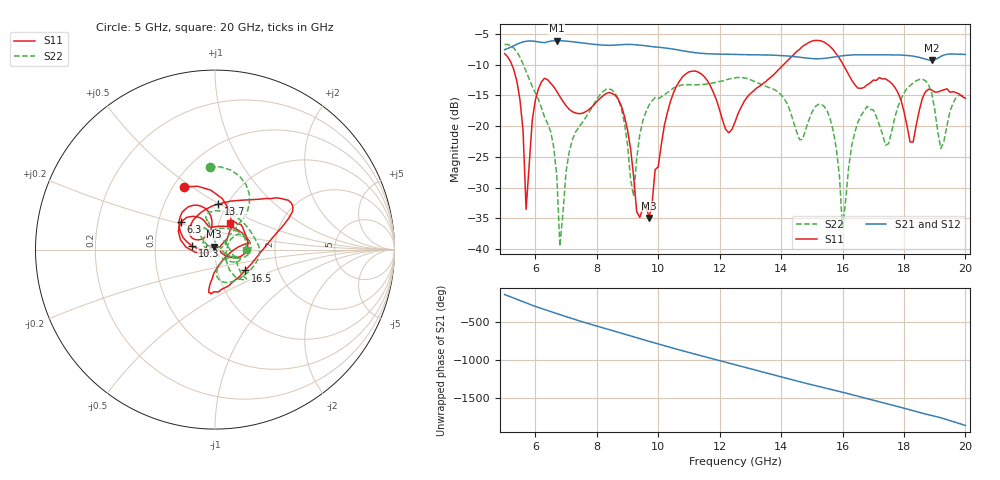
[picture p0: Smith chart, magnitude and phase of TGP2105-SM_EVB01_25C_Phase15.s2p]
! Date: Wednesday, June 05, 2013  1:50 PM
! Filename: C:\Data\Mike_Arnold\TGP2105-SM\Over_Temp\TGP2105-SM_EVB01_25C_Phase15.s2p
! Comments:
!^VDC(V):5.000
!^VDC(mA):0.134
!%Freq(GHz),S11(dB),S11(ang),S21(dB),S21(ang),S12(dB),S12(ang),S22(dB),S22(ang)
# GHz  S  DB  R  50
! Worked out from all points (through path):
!   151 points, 5 GHz to 20 GHz, reference 50 ohm
!   highest |S21| = -6.10 dB at 6.7 GHz (marker M1); lowest = -9.3 dB at 18.9 GHz (marker M2)
!   group delay of S21, straight-line fit = 305 ps
!   lowest |S11| = -34.9 dB at 9.7 GHz (marker M3), VSWR 1.04, Z = 49.3 + j1.63 ohm
!   |S11| at or under -10 dB: 5.234 GHz to 14.08 GHz (8.847 GHz wide, 91.6 % of centre); 16.02 GHz to end of sweep
!   |S22| runs from -39.5 to -6.7 dB; largest |S21 - S12| = 0.0021
!   S11 on the Smith chart (normalised r, x): 5 GHz: 0.57, +0.47; 6.3 GHz: 0.65, +0.21; 10.3 GHz: 0.77, +0.03; 13.7 GHz: 0.91, +0.49; 16.5 GHz: 1.36, -0.33; 20 GHz: 1.13, +0.34
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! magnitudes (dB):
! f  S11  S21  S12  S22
! 5 GHz  -8.2  -7.6  -7.6  -6.7
! 5.5 GHz  -15.7  -6.5  -6.5  -8.8
! 5.7 GHz  -33.6  -6.2  -6.2  -11.1
! 6.3 GHz  -12.2  -6.4  -6.4  -18.5
! 6.7 GHz  -14.4  -6.1  -6.1  -28.2
! 6.8 GHz  -15.2  -6.1  -6.1  -39.5
! 7.5 GHz  -18.0  -6.4  -6.5  -19.6
! 8.6 GHz  -15.0  -6.8  -6.9  -14.7
! 9.2 GHz  -28.2  -6.7  -6.8  -31.4
! 9.7 GHz  -34.9  -7.0  -7.0  -16.6
! 10 GHz  -26.6  -7.2  -7.2  -15.5
! 10.3 GHz  -17.8  -7.3  -7.4  -14.5
! 12.5 GHz  -19.3  -8.3  -8.4  -12.2
! 13.7 GHz  -11.9  -8.4  -8.5  -13.9
! 15 GHz  -6.2  -9.0  -9.0  -17.8
! 15.6 GHz  -7.1  -8.9  -8.9  -18.9
! 16 GHz  -9.8  -8.6  -8.6  -36.8
! 16.5 GHz  -13.8  -8.4  -8.4  -19.4
! 17.5 GHz  -12.6  -8.4  -8.4  -22.9
! 18.2 GHz  -22.6  -8.5  -8.6  -13.4
! 18.9 GHz  -14.1  -9.3  -9.3  -14.6
! 20 GHz  -15.5  -8.4  -8.4  -15.3
